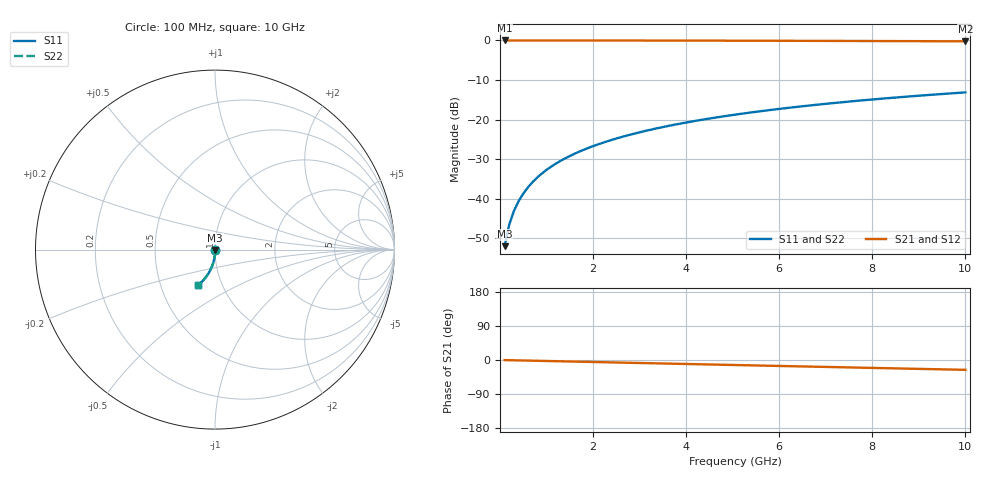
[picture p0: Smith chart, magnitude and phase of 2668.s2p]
# Hz S RI R 50.00
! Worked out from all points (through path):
!   100 points, 100 MHz to 10 GHz, reference 50 ohm
!   highest |S21| = -0.01 dB at 100 MHz (marker M1); lowest = -0.2 dB at 10 GHz (marker M2)
!   group delay of S21, straight-line fit = 7.21 ps
!   lowest |S11| = -52.0 dB at 100 MHz (marker M3), VSWR 1.01, Z = 50.1 - j0.232 ohm
!   |S11| at or under -10 dB: start of sweep to end of sweep
!   |S22| runs from -52.0 to -13.1 dB; largest |S21 - S12| = 0
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1e8  0.000988 -0.00232  0.999 -0.00459  0.999 -0.00459  0.000988 -0.00232
2e8  0.00096 -0.00463  0.9989 -0.00917  0.9989 -0.00917  0.00096 -0.00463
3e8  0.000908 -0.00695  0.9989 -0.0138  0.9989 -0.0138  0.000908 -0.00695
4e8  0.000835 -0.00927  0.9988 -0.0183  0.9988 -0.0183  0.000835 -0.00927
5e8  0.000739 -0.0116  0.9986 -0.0229  0.9986 -0.0229  0.000739 -0.0116
6e8  0.000622 -0.0139  0.9985 -0.0275  0.9985 -0.0275  0.000622 -0.0139
7e8  0.000484 -0.0162  0.9983 -0.0321  0.9983 -0.0321  0.000484 -0.0162
8e8  0.000324 -0.0185  0.9981 -0.0367  0.9981 -0.0367  0.000324 -0.0185
9e8  0.000143 -0.0208  0.9979 -0.0412  0.9979 -0.0412  0.000143 -0.0208
1.1e9  -0.000283 -0.0254  0.9973 -0.0504  0.9973 -0.0504  -0.000283 -0.0254
1.4e9  -0.00108 -0.0323  0.9963 -0.0641  0.9963 -0.0641  -0.00108 -0.0323
1.8e9  -0.00244 -0.0415  0.9946 -0.0823  0.9946 -0.0823  -0.00244 -0.0415
2.1e9  -0.00368 -0.0483  0.9931 -0.096  0.9931 -0.096  -0.00368 -0.0483
2.5e9  -0.00562 -0.0574  0.9906 -0.1141  0.9906 -0.1141  -0.00562 -0.0574
2.9e9  -0.00789 -0.0663  0.9878 -0.1321  0.9878 -0.1321  -0.00789 -0.0663
3.4e9  -0.0112 -0.0774  0.9837 -0.1546  0.9837 -0.1546  -0.0112 -0.0774
4.2e9  -0.0175 -0.0947  0.9758 -0.1901  0.9758 -0.1901  -0.0175 -0.0947
5.1e9  -0.026 -0.1136  0.965 -0.2293  0.965 -0.2293  -0.026 -0.1136
5.9e9  -0.0349 -0.1296  0.9539 -0.2636  0.9539 -0.2636  -0.0349 -0.1296
6.7e9  -0.0448 -0.1449  0.9413 -0.2971  0.9413 -0.2971  -0.0448 -0.1449
8.4e9  -0.0692 -0.1746  0.9101 -0.3655  0.9101 -0.3655  -0.0692 -0.1746
1e10  -0.0957 -0.1987  0.8757 -0.426  0.8757 -0.426  -0.0957 -0.1987
